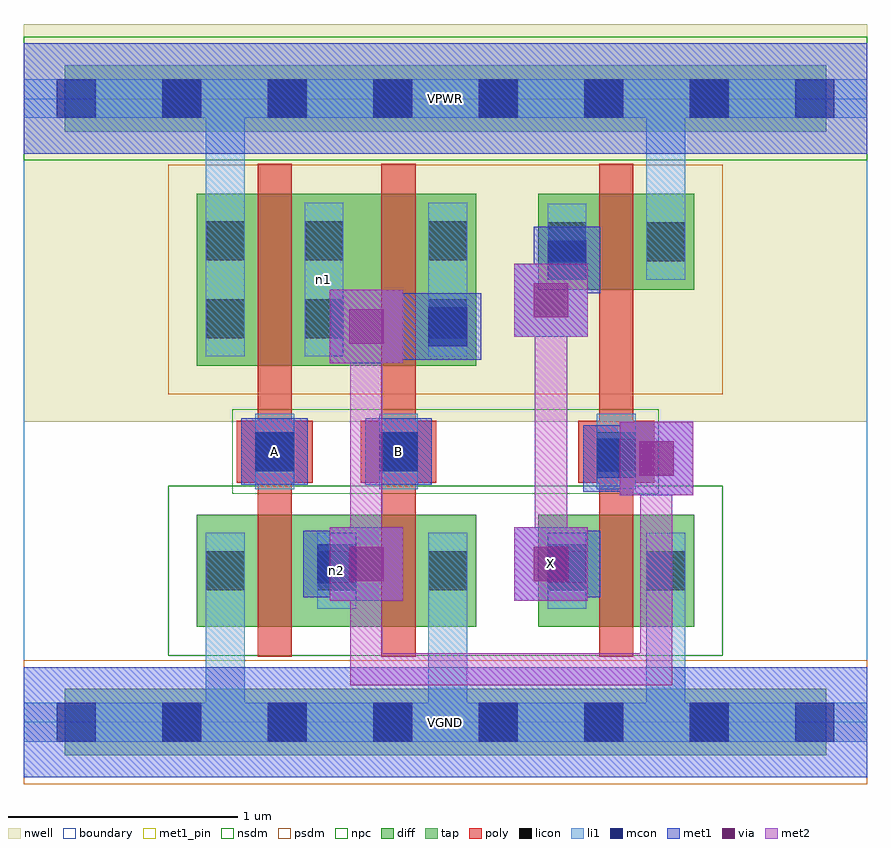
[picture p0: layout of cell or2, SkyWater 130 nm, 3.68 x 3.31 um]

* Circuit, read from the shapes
.subckt or2 A B VGND VPWR X n1 n2
XM1 n2 A VGND VGND sky130_fd_pr__nfet_01v8 w=0.49 l=0.15
XM2 VGND B n2 VGND sky130_fd_pr__nfet_01v8 w=0.49 l=0.15
XM3 VGND n2 X VGND sky130_fd_pr__nfet_01v8 w=0.49 l=0.15
XM4 n1 A VPWR VPWR sky130_fd_pr__pfet_01v8 w=0.75 l=0.15
XM5 n2 B n1 VPWR sky130_fd_pr__pfet_01v8 w=0.75 l=0.15
XM6 VPWR n2 X VPWR sky130_fd_pr__pfet_01v8 w=0.42 l=0.15
.ends

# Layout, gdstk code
import gdstk
lib = gdstk.Library(unit=1e-6, precision=1e-09)
def R(c, l, rs):  # rectangles x0, y0, x1, y1
    for r in rs: c.add(gdstk.rectangle(r[:2], r[2:], *l))
def A(c, l, x, y, w, h, nx, ny, dx, dy):  # array of equal rectangles
    R(c, l, [(x+i*dx, y+j*dy, x+i*dx+w, y+j*dy+h) for i in range(nx) for j in range(ny)])
nwell = (64, 20)
diff = (65, 20)
tap = (65, 44)
poly = (66, 20)
licon = (66, 44)
li1 = (67, 20)
mcon = (67, 44)
met1_pin = (68, 16)
met1 = (68, 20)
via = (68, 44)
met2 = (69, 20)
nsdm = (93, 44)
psdm = (94, 20)
npc = (95, 20)
boundary = (235, 4)

or2 = lib.new_cell('or2')
R(or2, nwell, [(0,1.31,3.68,3.045)])
R(or2, diff, [(0.755,0.415,1.975,0.905), (2.245,0.415,2.925,0.905), (0.755,1.555,1.975,2.305), (2.245,1.885,2.925,2.305)])
R(or2, tap, [(0.18,-0.145,3.5,0.145), (0.18,2.575,3.5,2.865)])
R(or2, poly, [(1.02,0.285,1.17,2.435), (1.56,0.285,1.71,2.435), (2.51,0.285,2.66,2.435), (0.93,1.045,1.26,1.315), (1.47,1.045,1.8,1.315), (2.42,1.045,2.75,1.315)])
A(or2, licon, 0.605, -0.085, 0.17, 0.17, 6, 2, 0.46, 2.72)
A(or2, licon, 0.795, 0.575, 0.17, 0.17, 3, 1, 0.485, 0)
R(or2, licon, [(2.285,0.575,2.455,0.745), (2.715,0.575,2.885,0.745), (1.01,1.095,1.18,1.265), (1.55,1.095,1.72,1.265), (2.5,1.095,2.67,1.265), (0.795,1.675,0.965,1.845), (1.225,1.675,1.395,1.845), (1.765,1.675,1.935,1.845), (2.285,2.01,2.455,2.18), (2.715,2.01,2.885,2.18), (0.795,2.015,0.965,2.185), (1.225,2.015,1.395,2.185), (1.765,2.015,1.935,2.185)])
A(or2, li1, 0.795, 0.495, 0.17, 0.33, 3, 1, 0.485, 0)
R(or2, li1, [(0,-0.085,3.68,0.085), (0.795,-0.085,0.965,0.825), (1.765,-0.085,1.935,0.825), (2.715,-0.085,2.885,0.825), (2.285,0.495,2.455,0.825), (2.715,0.495,2.885,0.825), (1.01,1.015,1.18,1.345), (1.55,1.015,1.72,1.345), (2.5,1.015,2.67,1.345), (0.795,1.595,0.965,2.265), (0.795,1.595,0.965,2.805), (1.225,1.595,1.395,2.265), (1.765,1.595,1.935,2.265), (2.285,1.93,2.455,2.26), (2.715,1.93,2.885,2.26), (2.715,1.93,2.885,2.805), (0,2.635,3.68,2.805)])
A(or2, mcon, 0.145, -0.085, 0.17, 0.17, 8, 2, 0.46, 2.72)
R(or2, mcon, [(1.28,0.605,1.45,0.775), (2.285,0.605,2.455,0.775), (2.5,1.065,2.67,1.235), (1.01,1.095,1.18,1.265), (1.55,1.095,1.72,1.265), (1.765,1.64,1.935,1.81), (2.285,1.93,2.455,2.1)])
R(or2, met1_pin, [(0,-0.24,3.68,0.24), (2.14,0.53,2.46,0.85), (0.95,1.035,1.24,1.325), (1.49,1.035,1.78,1.325), (0,2.48,3.68,2.96)])
R(or2, met1, [(0,-0.24,3.68,0.24), (1.335,0.53,1.655,0.85), (2.14,0.53,2.46,0.85), (1.22,0.545,1.51,0.835), (2.225,0.545,2.515,0.835), (1.295,0.62,1.565,0.76), (2.23,0.62,2.44,0.76), (2.6,0.99,2.92,1.31), (2.44,1.005,2.73,1.295), (0.95,1.035,1.24,1.325), (1.49,1.035,1.78,1.325), (2.515,1.08,2.83,1.22), (1.335,1.565,1.655,1.885), (1.655,1.58,1.705,1.87), (1.705,1.58,1.995,1.87), (1.425,1.655,1.795,1.795), (1.655,1.655,1.92,1.795), (2.14,1.68,2.46,2), (2.23,1.77,2.37,2.085), (2.225,1.87,2.515,2.16), (2.23,1.945,2.44,2.085), (0,2.48,3.68,2.96)])
R(or2, via, [(1.42,0.615,1.57,0.765), (2.225,0.615,2.375,0.765), (2.685,1.075,2.835,1.225), (1.42,1.65,1.57,1.8), (2.225,1.765,2.375,1.915)])
R(or2, met2, [(1.425,0.16,1.565,0.76), (1.425,0.16,2.83,0.3), (2.69,0.16,2.83,1.22), (1.335,0.53,1.655,0.85), (2.14,0.53,2.46,0.85), (1.425,0.62,1.565,1.795), (2.23,0.62,2.37,1.91), (2.6,0.99,2.92,1.31), (1.335,1.565,1.655,1.885), (2.14,1.68,2.46,2)])
R(or2, nsdm, [(0.63,0.29,3.05,1.03), (0,2.45,3.68,2.99)])
R(or2, psdm, [(0,-0.27,3.68,0.27), (0.63,1.43,3.05,2.43)])
R(or2, npc, [(0.91,0.995,2.77,1.365)])
R(or2, boundary, [(0,0,3.68,2.72)])
or2.add(gdstk.Label('n2', (1.365,0.66), layer=67, texttype=5))
or2.add(gdstk.Label('n1', (1.31,1.93), layer=67, texttype=5))
or2.add(gdstk.Label('A', (1.095,1.18), layer=68, texttype=5))
or2.add(gdstk.Label('B', (1.635,1.18), layer=68, texttype=5))
or2.add(gdstk.Label('X', (2.3,0.69), layer=68, texttype=5))
or2.add(gdstk.Label('VPWR', (1.84,2.72), layer=68, texttype=5))
or2.add(gdstk.Label('VGND', (1.84,0), layer=68, texttype=5))
or2.add(gdstk.Label('A', (1.095,1.18), layer=68, texttype=16))
or2.add(gdstk.Label('B', (1.635,1.18), layer=68, texttype=16))
or2.add(gdstk.Label('X', (2.3,0.69), layer=68, texttype=16))
or2.add(gdstk.Label('VPWR', (1.84,2.72), layer=68, texttype=16))
or2.add(gdstk.Label('VGND', (1.84,0), layer=68, texttype=16))

lib.write_gds('or2.gds')
